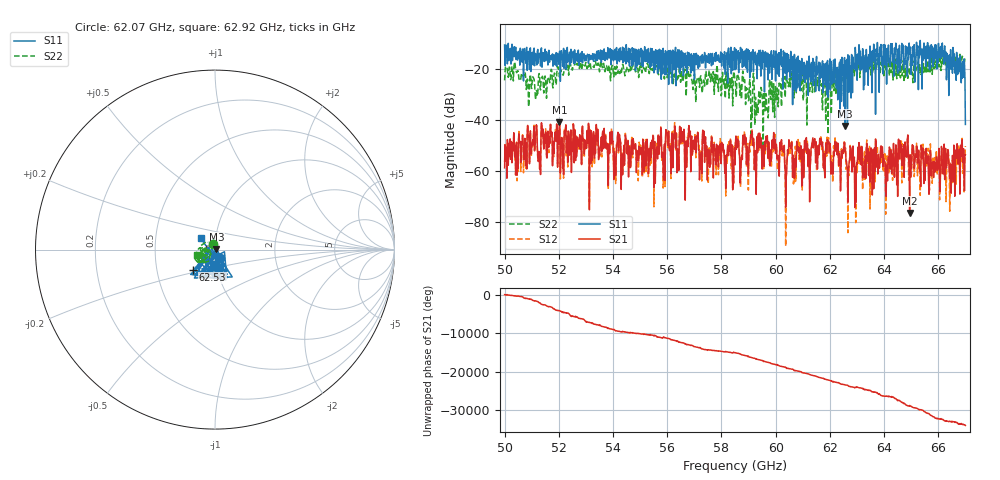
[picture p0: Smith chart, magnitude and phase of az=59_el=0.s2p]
!Created with skrf (http://scikit-rf.org).
# GHz S RI R 50.0
!freq ReS11 ImS11 ReS21 ImS21 ReS12 ImS12 ReS22 ImS22
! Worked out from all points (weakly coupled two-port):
!   1001 points, 50 GHz to 67 GHz, reference 50 ohm
!   highest |S21| = -40.72 dB at 52.02 GHz (marker M1); lowest = -76.4 dB at 64.94 GHz (marker M2)
!   lowest |S11| = -42.2 dB at 62.56 GHz (marker M3), VSWR 1.02, Z = 50.8 + j0.108 ohm
!   |S11| at or under -10 dB: 50.14 GHz to 63.75 GHz (13.61 GHz wide, 23.9 % of centre); 63.75 GHz to 64.25 GHz (490.9 MHz wide, 0.767 % of centre); 66.15 GHz to end of sweep (the widest 3 of 14)
!   |S22| runs from -54.3 to -14.1 dB; largest |S21 - S12| = 0.0024
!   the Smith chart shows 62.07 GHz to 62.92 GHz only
!   S11 on the Smith chart (normalised r, x): 62.07 GHz: 1.05, -0.09; 62.53 GHz: 0.77, -0.18; 62.92 GHz: 0.85, +0.11
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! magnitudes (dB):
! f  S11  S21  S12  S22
! 50 GHz  -10.4  -58.6  -56.3  -24.3
! 51.16 GHz  -14.6  -45.3  -44.5  -29.8
! 52.02 GHz  -13.1  -40.7  -41.0  -23.0
! 52.84 GHz  -14.5  -57.3  -57.0  -20.2
! 54.35 GHz  -11.3  -61.3  -61.1  -18.0
! 55.68 GHz  -14.1  -45.9  -46.3  -22.1
! 58.5 GHz  -20.1  -57.4  -57.8  -23.8
! 59.62 GHz  -13.1  -51.6  -53.4  -33.7
! 60.37 GHz  -15.7  -74.0  -89.3  -25.1
! 60.52 GHz  -16.9  -50.0  -53.6  -24.8
! 60.69 GHz  -14.2  -62.7  -55.6  -24.2
! 61.34 GHz  -23.8  -49.3  -48.7  -25.7
! 61.93 GHz  -30.9  -49.1  -51.4  -45.4
! 62.07 GHz  -25.7  -56.9  -54.0  -29.7
! 62.53 GHz  -15.6  -48.6  -48.4  -18.9
! 62.56 GHz  -42.2  -52.2  -53.3  -19.6
! 62.92 GHz  -19.9  -74.1  -65.5  -19.5
! 64.18 GHz  -17.5  -57.3  -60.9  -18.5
! 64.94 GHz  -14.1  -76.4  -59.1  -21.8
! 66.18 GHz  -12.8  -61.0  -57.3  -17.7
! 66.9 GHz  -17.0  -56.6  -60.8  -15.1
! 67 GHz  -41.6  -53.5  -50.1  -15.3
